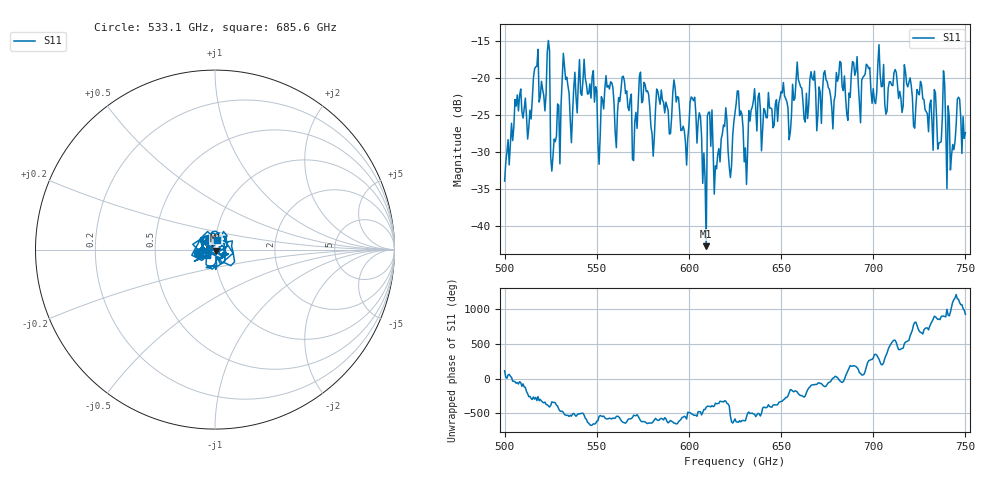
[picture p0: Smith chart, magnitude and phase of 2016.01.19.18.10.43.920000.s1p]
!Created with skrf (http://scikit-rf.org).
# GHz S RI R 50.0
!freq ReS11 ImS11
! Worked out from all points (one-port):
!   401 points, 500 GHz to 750 GHz, reference 50 ohm
!   lowest |S11| = -42.7 dB at 609.4 GHz (marker M1), VSWR 1.01, Z = 50.4 - j0.6 ohm
!   |S11| at or under -10 dB: start of sweep to end of sweep
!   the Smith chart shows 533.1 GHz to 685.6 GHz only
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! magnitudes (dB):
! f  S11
! 500 GHz  -33.9
! 506.9 GHz  -22.3
! 513.8 GHz  -24.4
! 516.9 GHz  -18.5
! 523.1 GHz  -16.6
! 526.2 GHz  -30.6
! 531.2 GHz  -20.3
! 548.8 GHz  -23.3
! 551.9 GHz  -27.8
! 562.5 GHz  -23.2
! 570.6 GHz  -25.9
! 574.4 GHz  -23.4
! 580.6 GHz  -30.6
! 593.8 GHz  -22.6
! 598.1 GHz  -28.7
! 602.5 GHz  -23.1
! 609.4 GHz  -42.7
! 611.2 GHz  -24.7
! 614.4 GHz  -31.9
! 619.4 GHz  -26.6
! 622.5 GHz  -33.5
! 625 GHz  -24.7
! 630.6 GHz  -29.5
! 635 GHz  -23.1
! 656.2 GHz  -20.9
! 687.5 GHz  -22.7
! 718.8 GHz  -21.2
! 750 GHz  -27.4
